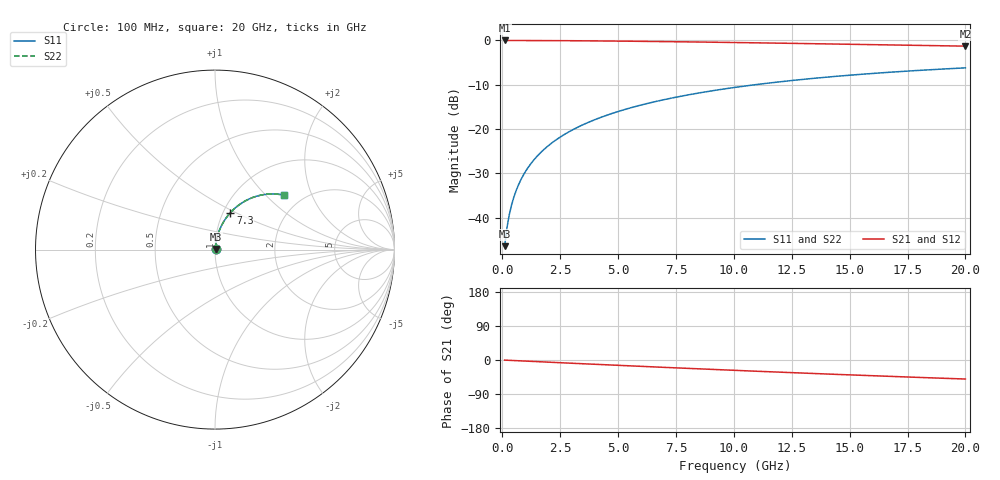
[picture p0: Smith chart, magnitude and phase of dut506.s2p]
! Touchstone file exported from HFSS 2026.1.0
!  File:  C:/ffzhzh/LocalFiles/Ansys_Project_Files/temp_train_BSMRDL_506_1783014287_4048.aedt
!  Generated:  01:46:20 AM Jul  3, 2026
!  Design:  BSMRDL
!  Project:  temp_train_BSMRDL_506_1783014287_4048
! Variables:
!  h_bsmrdl = 4.95um
!  h_ox = 20um
!  h_rdl = 5um
!  h_sub = 80um
!  h_tmrdl = 5um
!  h_tsv = 80um
!  h_via = 3um
!  l_bsmrdl = 733.81um
!  l_sub = 1133.81um
!  l_tmrdl = 200um
!  m_sub = 200um
!  pitch = 49.71um
!  r_tsv = 6um
!  s_tmrdl = 10um
!  w_bsmrdl = 16.5um
!  w_sub = 500um
!  w_tmrdl = 12um
!  x_tsv_center1 = 206um
!  x_tsv_center2 = 956.31um
!  x_tsv_center3 = 1168.31um
!  x_tsv_center4 = 1918.62um
!  x_tsv_center5 = 2130.62um
!  x_tsv_center6 = 2880.93um
# GHz S MA R 50.000000
! Terminal data exported
! Port[1] = BSM_RDL1_1_T1
! Port[2] = BSM_RDL1_1_T2
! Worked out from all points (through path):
!   200 points, 100 MHz to 20 GHz, reference 50 ohm
!   highest |S21| = -0.03 dB at 100 MHz (marker M1); lowest = -1.3 dB at 20 GHz (marker M2)
!   group delay of S21, straight-line fit = 6.98 ps
!   lowest |S11| = -46.5 dB at 100 MHz (marker M3), VSWR 1.01, Z = 50.3 + j0.345 ohm
!   |S11| at or under -10 dB: start of sweep to 10.95 GHz
!   |S22| runs from -46.5 to -6.2 dB; largest |S21 - S12| = 1.4e-14
!   S11 on the Smith chart (normalised r, x): 100 MHz: 1.01, +0.01; 7.3 GHz: 1.08, +0.47; 20 GHz: 1.61, +1.29
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0.1  0.004756 46.1  0.9967 -0.3  0.9967 -0.3  0.004756 46.1
! Gamma 0 0 0 0
! Port Impedance 50 0 50 0
0.2  0.007621 62.9  0.9966 -0.6  0.9966 -0.6  0.007621 62.9
0.3  0.01072 69.9  0.9964 -0.9  0.9964 -0.9  0.01072 69.9
0.4  0.01387 73.6  0.9963 -1.2  0.9963 -1.2  0.01387 73.6
0.5  0.01703 75.9  0.9961 -1.5  0.9961 -1.5  0.01703 75.9
0.7  0.02341 78.5  0.9959 -2.0  0.9959 -2.0  0.02341 78.5
1  0.03304 80.1  0.9954 -2.9  0.9954 -2.9  0.03304 80.1
1.2  0.03947 80.5  0.9951 -3.5  0.9951 -3.5  0.03947 80.5
1.4  0.0459 80.7  0.9947 -4.0  0.9947 -4.0  0.0459 80.7
1.7  0.05552 80.5  0.994 -4.9  0.994 -4.9  0.05552 80.5
2  0.0651 80.1  0.9932 -5.7  0.9932 -5.7  0.0651 80.1
2.7  0.08724 78.8  0.9909 -7.7  0.9909 -7.7  0.08724 78.8
3.5  0.1121 77.0  0.9877 -10.0  0.9877 -10.0  0.1121 77.0
4.2  0.1334 75.2  0.9844 -11.9  0.9844 -11.9  0.1334 75.2
5  0.1573 73.2  0.9802 -14.1  0.9802 -14.1  0.1573 73.2
6.8  0.2089 68.7  0.9691 -18.9  0.9691 -18.9  0.2089 68.7
7.3  0.2227 67.4  0.9657 -20.2  0.9657 -20.2  0.2227 67.4
8.6  0.2576 64.2  0.9564 -23.6  0.9564 -23.6  0.2576 64.2
10.1  0.2957 60.5  0.9447 -27.5  0.9447 -27.5  0.2957 60.5
13.4  0.3715 52.7  0.9168 -35.5  0.9168 -35.5  0.3715 52.7
16.7  0.4358 45.3  0.8878 -43.1  0.8878 -43.1  0.4358 45.3
20  0.489 38.3  0.8598 -50.2  0.8598 -50.2  0.489 38.4
